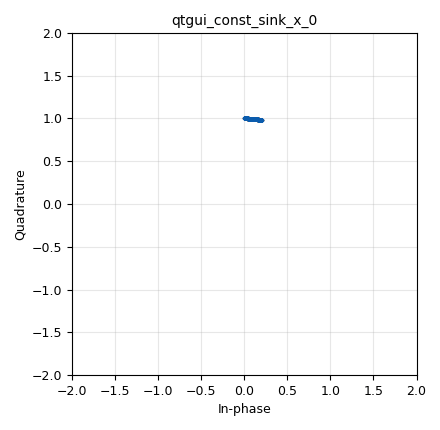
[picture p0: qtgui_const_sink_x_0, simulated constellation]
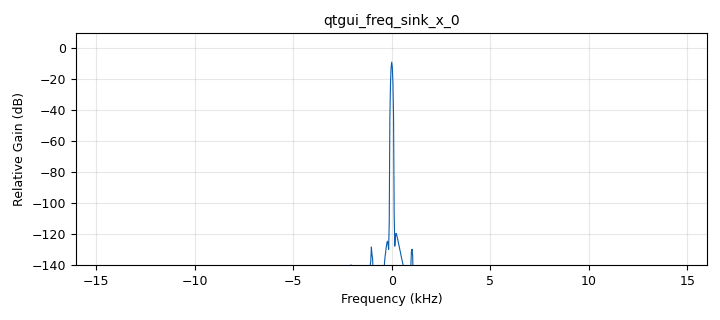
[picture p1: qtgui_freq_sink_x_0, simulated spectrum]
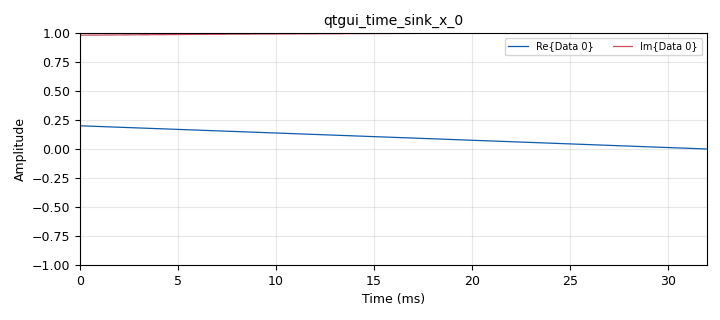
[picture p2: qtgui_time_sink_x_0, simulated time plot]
options:
  parameters:
    author: jason
    generate_options: qt_gui
    generator_class_name: PythonQtGuiGenerator
    generator_module: gnuradio.grc.workflows.python_qt_gui
    id: lesson03a_complexPlots
    output_language: python
    title: complexPlots
  states: {}

blocks:
- name: freq
  id: variable_qtgui_range
  parameters:
    start: '-10e3'
    step: '.1'
    stop: 10e3
    value: '1'
  states: {}
- name: samp_rate
  id: variable
  parameters:
    value: '32000'
  states: {}
- name: analog_sig_source_x_0
  id: analog_sig_source_x
  parameters:
    amp: '1'
    freq: freq
    offset: '0'
    phase: '0'
    samp_rate: samp_rate
    type: complex
    waveform: analog.GR_COS_WAVE
  states: {}
- name: blocks_add_xx_0
  id: blocks_add_xx
  parameters:
    type: complex
  states: {state: disabled}
- name: blocks_conjugate_cc_0
  id: blocks_conjugate_cc
  parameters: {}
  states: {state: disabled}
- name: blocks_throttle_0
  id: blocks_throttle2
  parameters:
    samples_per_second: samp_rate
    type: complex
  states: {}
- name: qtgui_const_sink_x_0
  id: qtgui_const_sink_x
  parameters:
    size: '1024'
    type: complex
  states: {}
- name: qtgui_freq_sink_x_0
  id: qtgui_freq_sink_x
  parameters:
    bw: samp_rate
    fc: '0'
    fftsize: '1024'
    type: complex
  states: {}
- name: qtgui_time_sink_x_0
  id: qtgui_time_sink_x
  parameters:
    size: '1024'
    srate: samp_rate
    type: complex
  states: {}
- name: qtgui_waterfall_sink_x_0
  id: qtgui_waterfall_sink_x
  parameters:
    bw: samp_rate
    fc: '0'
    fftsize: '1024'
    type: complex
  states: {state: disabled}

connections:
- [analog_sig_source_x_0, '0', blocks_add_xx_0, '0']
- [analog_sig_source_x_0, '0', blocks_conjugate_cc_0, '0']
- [analog_sig_source_x_0, '0', blocks_throttle_0, '0']
- [blocks_add_xx_0, '0', blocks_throttle_0, '0']
- [blocks_conjugate_cc_0, '0', blocks_add_xx_0, '1']
- [blocks_throttle_0, '0', qtgui_const_sink_x_0, '0']
- [blocks_throttle_0, '0', qtgui_freq_sink_x_0, '0']
- [blocks_throttle_0, '0', qtgui_time_sink_x_0, '0']
- [blocks_throttle_0, '0', qtgui_waterfall_sink_x_0, '0']

metadata:
  file_format: 1
  grc_version: 3.10.12.0
